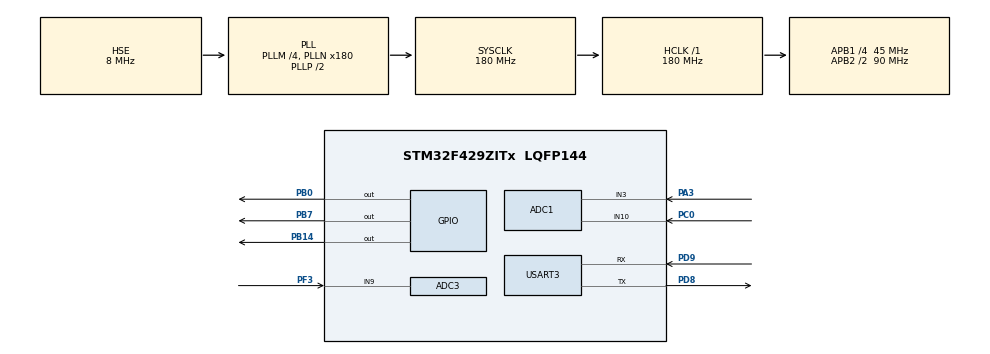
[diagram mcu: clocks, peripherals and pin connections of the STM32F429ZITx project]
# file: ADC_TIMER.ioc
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ADC1.Channel-0\#ChannelRegularConversion=ADC_CHANNEL_3
ADC1.Channel-1\#ChannelRegularConversion=ADC_CHANNEL_10
ADC1.ContinuousConvMode=ENABLE
ADC1.NbrOfConversion=2
ADC1.NbrOfConversionFlag=1
ADC1.Rank-0\#ChannelRegularConversion=1
ADC1.Rank-1\#ChannelRegularConversion=2
ADC1.SamplingTime-0\#ChannelRegularConversion=ADC_SAMPLETIME_3CYCLES
ADC1.SamplingTime-1\#ChannelRegularConversion=ADC_SAMPLETIME_3CYCLES
ADC1.master=1
ADC3.Channel-0\#ChannelRegularConversion=ADC_CHANNEL_9
ADC3.NbrOfConversionFlag=1
ADC3.Rank-0\#ChannelRegularConversion=1
ADC3.SamplingTime-0\#ChannelRegularConversion=ADC_SAMPLETIME_3CYCLES
Mcu.Family=STM32F4
Mcu.Name=STM32F429ZITx
Mcu.Package=LQFP144
NVIC.PriorityGroup=NVIC_PRIORITYGROUP_4
NVIC.TIM6_DAC_IRQn=true\:0\:0\:false\:false\:true\:true\:true\:true
PA13.Mode=Serial_Wire
PA13.Signal=SYS_JTMS-SWDIO
PA14.Mode=Serial_Wire
PA14.Signal=SYS_JTCK-SWCLK
PA3.Signal=ADCx_IN3
PB0.Signal=GPIO_Output
PB14.Signal=GPIO_Output
PB7.Signal=GPIO_Output
PC0.Signal=ADCx_IN10
PD5.Signal=USART2_TX
PD8.Mode=Asynchronous
PD8.Signal=USART3_TX
PD9.Mode=Asynchronous
PD9.Signal=USART3_RX
PF3.Mode=IN9
PF3.Signal=ADC3_IN9
PH0/OSC_IN.Mode=HSE-External-Oscillator
PH0/OSC_IN.Signal=RCC_OSC_IN
PH1/OSC_OUT.Mode=HSE-External-Oscillator
PH1/OSC_OUT.Signal=RCC_OSC_OUT
ProjectManager.HeapSize=0x200
ProjectManager.StackSize=0x400
ProjectManager.TargetToolchain=STM32CubeIDE
RCC.48MHZClocksFreq_Value=90000000
RCC.AHBFreq_Value=180000000
RCC.APB1CLKDivider=RCC_HCLK_DIV4
RCC.APB1Freq_Value=45000000
RCC.APB1TimFreq_Value=90000000
RCC.APB2CLKDivider=RCC_HCLK_DIV2
RCC.APB2Freq_Value=90000000
RCC.APB2TimFreq_Value=180000000
RCC.CortexFreq_Value=180000000
RCC.HCLKFreq_Value=180000000
RCC.HSE_VALUE=8000000
RCC.HSI_VALUE=16000000
RCC.LSE_VALUE=32768
RCC.PLLM=4
RCC.PLLN=180
RCC.PLLSourceVirtual=RCC_PLLSOURCE_HSE
RCC.SYSCLKFreq_VALUE=180000000
RCC.SYSCLKSource=RCC_SYSCLKSOURCE_PLLCLK
RCC.VCOOutputFreq_Value=360000000
SH.ADCx_IN10.0=ADC1_IN10,IN10
SH.ADCx_IN3.0=ADC1_IN3,IN3
TIM6.AutoReloadPreload=TIM_AUTORELOAD_PRELOAD_ENABLE
TIM6.Period=1499
TIM6.Prescaler=5999
USART3.VirtualMode=VM_ASYNC
VP_TIM6_VS_ClockSourceINT.Mode=Enable_Timer
board=custom

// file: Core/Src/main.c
/* USER CODE BEGIN Header */
/**
  ******************************************************************************
  * @file           : main.c
  * @brief          : Main program body
  ******************************************************************************
  * @attention
  *
  * Copyright (c) 2022 STMicroelectronics.
  * All rights reserved.
  *
  * This software is licensed under terms that can be found in the LICENSE file
  * in the root directory of this software component.
  * If no LICENSE file comes with this software, it is provided AS-IS.
  *
  ******************************************************************************
  */
/* USER CODE END Header */
#include "main.h"
#include "adc.h"
#include "tim.h"
#include "usart.h"
#include "gpio.h"

/* USER CODE BEGIN Includes */
#include "reg.h"
/* USER CODE END Includes */

/* USER CODE BEGIN PD */
#define RES 						100
#define CURRENT_SETPOINT			325000
#define BACK_EMF					1.65
#define K 							1000
#define	RES_MIN						0.0
#define RAWRES_WINDOW				1800
#define ONE_MINUTE					600
#define THREE_MINUTE				1800
#define ONE_H_MSEC					1

void uprintf(char *str);
float Raw_volt_adc(void);
float Raw_volt_Avg (void);
float RAW_VOLTAGE (void);
float Raw_Current_adc(void);
float Raw_Current_Avg (void);
float Raw_Resistance(void);
float Sum_Raw_Res (void);
float Smooth_Resistance(void);
float SumSmooth_Resistance(void);
void convert_avg(char* outStr);
char store_char(void);

void ADC_Select_CH0 (void);
void ADC_Select_CH1 (void);

extern ADC_HandleTypeDef hadc2;

uint16_t m = 0;
uint16_t cnt = 0,cnt1 = 0;

float Raw_curr = 0.0;
float resistor_value;

float voltage_val[10]={0};
float current_val[10]={0};
float Resistance_val[4] = {0};

//double smooth_res[600] = {0};			//600 means = 1min stored data for smooth resistanace
float smooth_res = 0.0;

float volt_final = 0.0, fval = 0.0;
float Current_final = 0.0;
float Resistance_final = 0.0;
float resistance = 0.0;
float smoothResistance_sum = 0.0;
float SumSmooth_res;
float Resistance_sum2 = 0.0;

	float Raw_avg_volt;
	float Raw_avg_curr;
	float Raw_voltage_adc;
	float Raw_current_val_adc,Volt_curr;

float Resistance_sum = 0.0;

float Raw_voltage = 0.0,Raw_current;
float volt_val = 0.0,curr_val = 0.0;

volatile char RawResistance[30],res[30],curr[15], msg[30];

uint16_t FLAG = 0;
//volatile char Smoothres[50];

/* USER CODE END PD */

/* USER CODE BEGIN PV */
int i = 0, j = 0;
volatile uint32_t x = 0;
volatile uint16_t volt,current;

/* USER CODE END PV */

void SystemClock_Config(void);

/* USER CODE BEGIN 0 */

void ADC_Select_CH0 (void)
{
	ADC_ChannelConfTypeDef sConfig = {0};

	/** Configure for the selected ADC regular channel its corresponding rank in the sequencer and its sample time.
	  */
	  sConfig.Channel = ADC_CHANNEL_3;
	  sConfig.Rank = 1;
	  sConfig.SamplingTime = ADC_SAMPLETIME_3CYCLES;
	  if (HAL_ADC_ConfigChannel(&hadc1, &sConfig) != HAL_OK)
	  {
	    Error_Handler();
	  }
}

/* USER CODE END 0 */

int main(void)
{

  /* MCU Configuration--------------------------------------------------------*/

  /* Reset of all peripherals, Initializes the Flash interface and the Systick. */
  HAL_Init();

  /* Configure the system clock */
  SystemClock_Config();

  /* Initialize all configured peripherals */
  MX_GPIO_Init();
  MX_ADC1_Init();
  MX_TIM6_Init();
  MX_USART3_UART_Init();
  MX_ADC3_Init();
  /* USER CODE BEGIN 2 */

  HAL_TIM_Base_Start_IT(&htim6);

  /* USER CODE END 2 */

  /* Infinite loop */
  while (1)
  {

    /* USER CODE BEGIN 3 */

		  	  sprintf(msg,"%hu",raw);
		      HAL_UART_Transmit(&huart3, (uint8_t*)msg, strlen(msg), HAL_MAX_DELAY);
	  	  	  //uprintf("Rajdeep\r\n");

/*
	  	  	  ADC_Select_CH1();
			  HAL_ADC_Start(&hadc1);
			  HAL_ADC_PollForConversion(&hadc1, 1000);
			  volt = HAL_ADC_GetValue(&hadc1);
			  HAL_ADC_Stop(&hadc1);

			  sprintf(msg,"%hu",volt);
			  uprintf(msg);
			  HAL_Delay(3000);

			  	  	  	  ADC_Select_CH0();
			  			  HAL_ADC_Start(&hadc1);
			  			  HAL_ADC_PollForConversion(&hadc1, 1000);
			  			  current = HAL_ADC_GetValue(&hadc1);
			  			  HAL_ADC_Stop(&hadc1);

			  			  sprintf(msg2,"%hu",current);
			  			  uprintf(msg2);
			  			  HAL_Delay(1000);*/

//////////////////// for testing VOLT & CURRENT ////////////////////////

	 if (cnt == 10)		//1sEC loop
		  {
			  sprintf(res,"volt : %0.2f \r\n",Raw_voltage_adc); 	//<---- working for SmoothRes				A0
			  uprintf(res);
			 // cnt = 0;

			  sprintf(RawResistance,"current : %0.2f \r\n",Volt_curr); 	//<---- working for SmoothRes		A3
			  uprintf(RawResistance);
			  cnt = 0;
		  }

/////////////////////////////////////////////////////////

////////////	FINAL SUMRAW	//////////////////////////

	 /* if (cnt == 50)		//100ms loop		//5 sec --- 50
	  {
		  sprintf(res,"SumRawRes : %0.2f \r\n",fval); 	//<---- working for SmoothRes
		  uprintf(res);
		  cnt = 0;
	  }*/

/////////////	FINAL SUMRAW END	/////////////////////

	  //////////////////////	FINAL EWMA	  /////////////////////////////

	 /* if (cnt1 == 600)		//1 Min loop		600
	  {
		  	  float RSM_Val = 0.0;
		  	  smooth_res = 0;
		  	  RSM_Val = ewma(SumSmooth_res);
			  sprintf(msg,"EWMA : %0.6f \r\n",RSM_Val); 	//<---- working for SumResistance
			  uprintf(msg);
			  cnt1 = 0;
	  }*/

	  /////////////////////	  FINAL EWMA END	//////////////////////////

  }
  /* USER CODE END 3 */
}

void SystemClock_Config(void)
{
  RCC_OscInitTypeDef RCC_OscInitStruct = {0};
  RCC_ClkInitTypeDef RCC_ClkInitStruct = {0};

  /** Configure the main internal regulator output voltage
  */
  __HAL_RCC_PWR_CLK_ENABLE();
  __HAL_PWR_VOLTAGESCALING_CONFIG(PWR_REGULATOR_VOLTAGE_SCALE1);

  /** Initializes the RCC Oscillators according to the specified parameters
  * in the RCC_OscInitTypeDef structure.
  */
  RCC_OscInitStruct.OscillatorType = RCC_OSCILLATORTYPE_HSE;
  RCC_OscInitStruct.HSEState = RCC_HSE_ON;
  RCC_OscInitStruct.PLL.PLLState = RCC_PLL_ON;
  RCC_OscInitStruct.PLL.PLLSource = RCC_PLLSOURCE_HSE;
  RCC_OscInitStruct.PLL.PLLM = 4;
  RCC_OscInitStruct.PLL.PLLN = 180;
  RCC_OscInitStruct.PLL.PLLP = RCC_PLLP_DIV2;
  RCC_OscInitStruct.PLL.PLLQ = 4;
  if (HAL_RCC_OscConfig(&RCC_OscInitStruct) != HAL_OK)
  {
    Error_Handler();
  }

  /** Activate the Over-Drive mode
  */
  if (HAL_PWREx_EnableOverDrive() != HAL_OK)
  {
    Error_Handler();
  }

  /** Initializes the CPU, AHB and APB buses clocks
  */
  RCC_ClkInitStruct.ClockType = RCC_CLOCKTYPE_HCLK|RCC_CLOCKTYPE_SYSCLK
                              |RCC_CLOCKTYPE_PCLK1|RCC_CLOCKTYPE_PCLK2;
  RCC_ClkInitStruct.SYSCLKSource = RCC_SYSCLKSOURCE_PLLCLK;
  RCC_ClkInitStruct.AHBCLKDivider = RCC_SYSCLK_DIV1;
  RCC_ClkInitStruct.APB1CLKDivider = RCC_HCLK_DIV4;
  RCC_ClkInitStruct.APB2CLKDivider = RCC_HCLK_DIV2;

  if (HAL_RCC_ClockConfig(&RCC_ClkInitStruct, FLASH_LATENCY_5) != HAL_OK)
  {
    Error_Handler();
  }
}

/* USER CODE BEGIN 4 */
//
//void convert_avg(char* outStr)
//{
//	 char str[10];
//
//}

void uprintf(char *str)
{
	HAL_UART_Transmit(&huart3, (uint8_t*)str, strlen(str), HAL_MAX_DELAY);
}

float Raw_volt_adc(void)
{
	///////////////////////volt collect		A0  /////////////////////////////

		  ADC_Select_CH0();
		  HAL_ADC_Start(&hadc1);
		  HAL_ADC_PollForConversion(&hadc1, 1000);
		  volt = HAL_ADC_GetValue(&hadc1);
		  HAL_ADC_Stop(&hadc1);

	///////////////////////////////////////////////////////////////

       fval = (float)volt;						//<---- working for float

       return fval;
}

float Raw_current_adc(void)
{

	///////////////////////Current collect 	 A3  /////////////////////////////

		  //ADC_Select_CH1();
		  HAL_ADC_Start(&hadc3);
		  HAL_ADC_PollForConversion(&hadc3, 1000);
		  current = HAL_ADC_GetValue(&hadc3);
		  HAL_ADC_Stop(&hadc3);

	///////////////////////////////////////////////////////////////

       Raw_curr = (float)current;						//<---- working for float

       return Raw_curr;
}

float Raw_Resistance(void)
{

	if (i != 5)
		{
			Raw_volt_adc();
			Raw_current_adc();
			voltage_val[i] = fval;
			current_val[i] = Raw_curr;
			Raw_voltage = Raw_voltage + voltage_val[i];
			Raw_current = Raw_current + current_val[i];
			voltage_val[i] = 0;
			current_val[i] = 0;
			i++;
		}
		else
		{
			Raw_avg_volt = (Raw_voltage/5);
			Raw_voltage_adc = ((Raw_avg_volt/4096) * 60.00);

			Raw_avg_curr = (Raw_current/5);
			Volt_curr = ((Raw_avg_curr/4096) * 325.00);
			//Raw_current_val_adc = Volt_curr / 10 * K;

	//******	<Raw_Resistance> t = ( <Raw_Voltage> t – [BACK_EMF] ) / <Raw_Current> t – [V_KA_TIMESHIFT]	 *******//

			resistor_value =  ((Raw_voltage_adc - BACK_EMF) / Volt_curr * K);

	//**************************************************************************************************************//

			if (resistor_value < RES_MIN)
			{
				resistor_value = 0.0;
			}

			i = 0;
			j = 0;
			Raw_voltage = 0.0;
			Raw_current = 0.0;

		}

	return resistor_value;
}

////********************************* SUM OF RAW_RESISTANCE FOR 100ms ******************************//

float Sum_Raw_Res (void)
{
	float Store_res;

	if (j != 1800)		//fixed for 4 sample			1800
	{

			Raw_Resistance();
			Store_res = resistor_value;		//Resistance_val[j] =  resistor_value;
			Resistance_sum2 = Resistance_sum2 + Store_res;		//Resistance_val[j];
			//Resistance_val[j] = 0;
			j++;		// newly added
	}

	Resistance_sum = Resistance_sum2;		// sum of all values 100 times

	Resistance_sum2 = 0.0;		//modify

	return Resistance_sum;
}

//********************************* RAW_RESISTANCE STORE FOR 180 sec ******************************//

float Smooth_Resistance(void)
{

	//smoothResistance_sum = 0.0; //new

	if (m != 1799)			//For 600 sample				1799
			{
				Sum_Raw_Res();
				smooth_res = Resistance_sum;
				smoothResistance_sum += smooth_res;
//				m++;
			}

	resistance = smoothResistance_sum;

	return resistance;
}

//********************************* SUM OF RAW_RESISTANCE STORE FOR 180 sec ******************************//

float SumSmooth_Resistance(void)
{
			Smooth_Resistance();

							/*	resistance = smoothResistance_sum / RAWRES_WINDOW;	*/
			smoothResistance_sum = 0.0;		//clear data

			SumSmooth_res = 0.0;		//reset smoothRes
			SumSmooth_res = resistance / RAWRES_WINDOW;

			resistance = 0.0;

	return SumSmooth_res;
}

void HAL_TIM_PeriodElapsedCallback(TIM_HandleTypeDef *htim)
{

	if(htim->Instance == TIM6)
	{

										/*		Raw_Resistance collect	100ms	*/

		Raw_volt_adc();
		Raw_current_adc();
		Raw_Resistance();			//RAW_RESINTANCE
		Sum_Raw_Res();				//SUM_OF_RAW_RESISTANCE   FOR 100 MILISEC

		HAL_GPIO_TogglePin(GPIOB, GPIO_PIN_0);

		x++;
		if (x != 300)					// 60 means 6sec;	//300 means 30sec  //600 means 1min	//1800 means 3min
		{
			//x = 0; // reset x

//			HAL_GPIO_WritePin(GPIOB, GPIO_PIN_14, RESET);	//Reset for 1Min Duration
			HAL_GPIO_TogglePin(GPIOB, GPIO_PIN_7);

			Smooth_Resistance();

			m++;
     		cnt++;	//	for 100mSec
     		cnt1++;
		}
		else
		{
											/*		SumSmooth_Resistance collect 1 Min		*/

			x = 0; // reset x
			m = 0;
//			Smooth_Resistance();
			SumSmooth_Resistance();
//			HAL_GPIO_WritePin(GPIOB, GPIO_PIN_14, SET);		//set for 1Min Duration
			HAL_GPIO_TogglePin(GPIOB, GPIO_PIN_14);

		}

	}

}

/* USER CODE END 4 */

void Error_Handler(void)
{
  __disable_irq();
  while (1)
  {
  }
}
